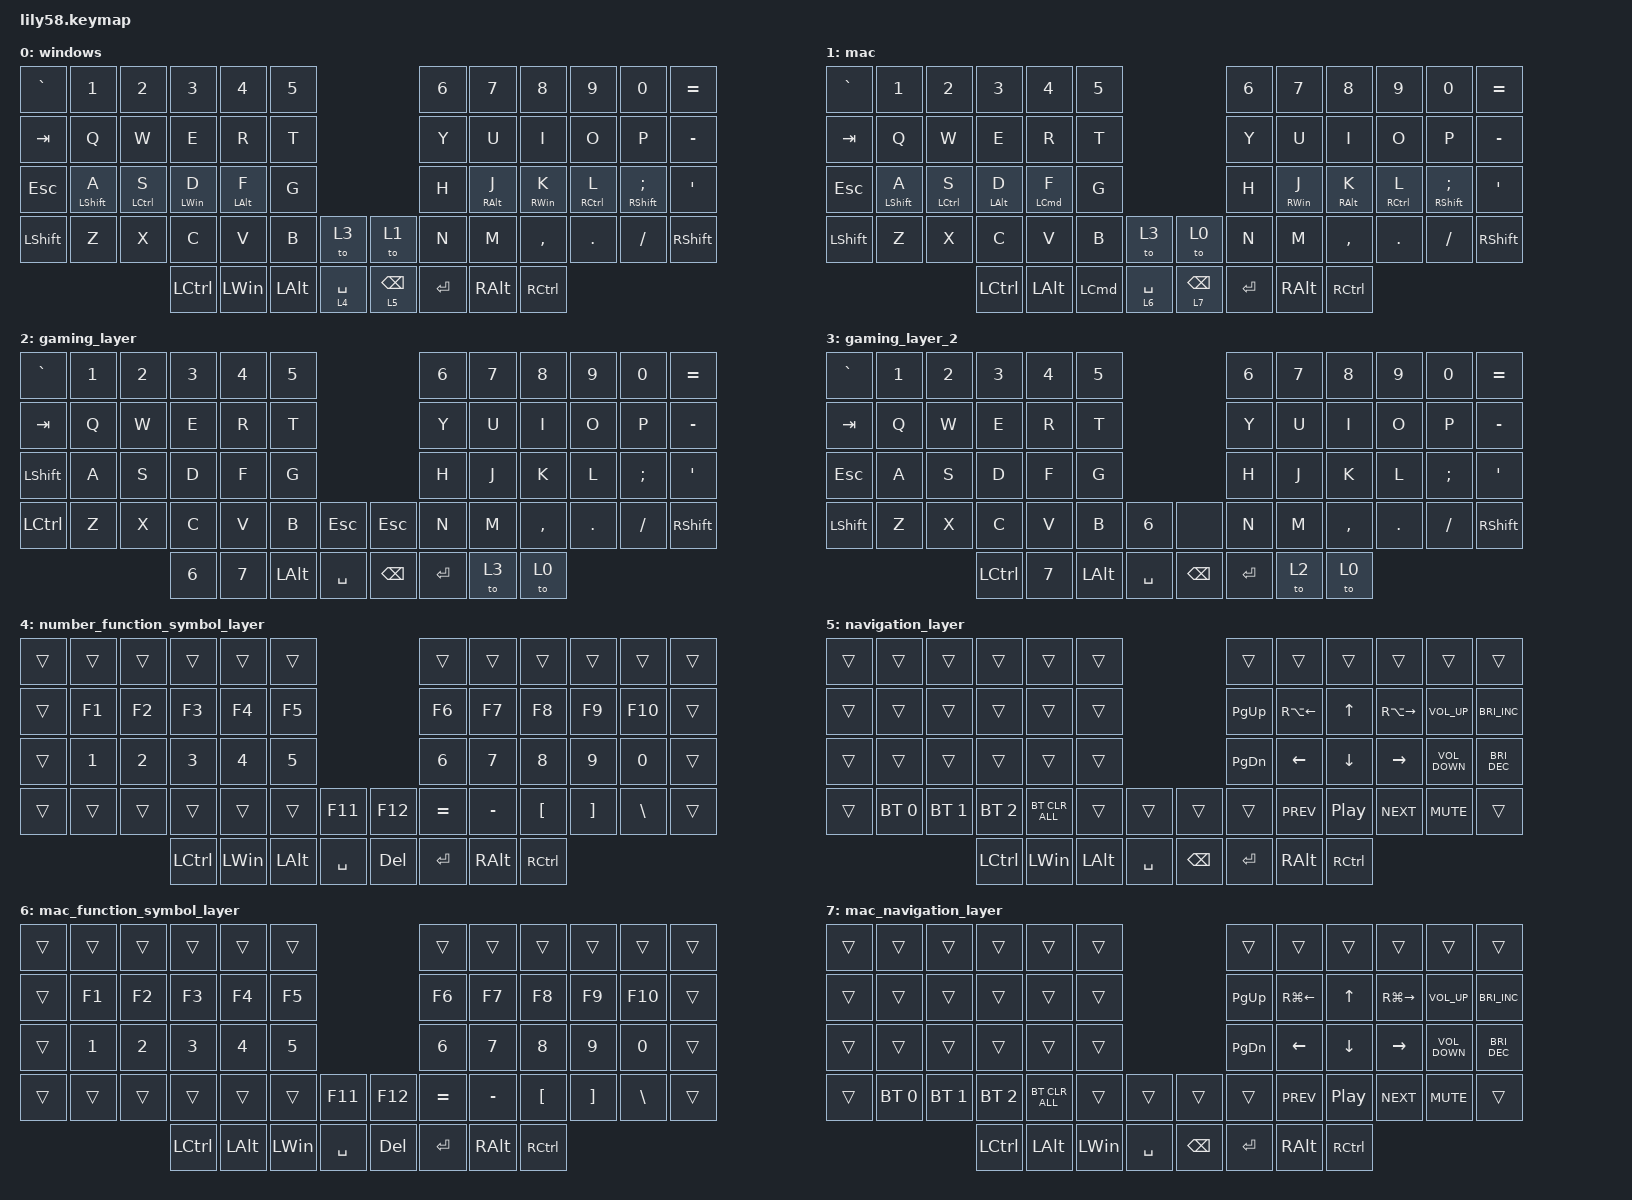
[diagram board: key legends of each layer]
/*
 * Copyright (c) 2020 The ZMK Contributors
 *
 * SPDX-License-Identifier: MIT
 */

#include <behaviors.dtsi>
#include <dt-bindings/zmk/bt.h>
#include <dt-bindings/zmk/keys.h>

&mt {
    flavor = "balanced";
    tapping-term-ms = <250>;
    quick-tap-ms = <175>;
    require-prior-idle-ms = <105>;
    hold-trigger-key-positions = <25 26 27 28 31 32 33 34>;
    hold-trigger-on-release;
};

/ {
    combos { compatible = "zmk,combos"; };

    behaviors {
        left_hold_tap: left_hold_tap {
            compatible = "zmk,behavior-hold-tap";
            label = "LEFT_HOLD_TAP";
            bindings = <&kp>, <&kp>;

            #binding-cells = <2>;
            tapping-term-ms = <250>;
            quick-tap-ms = <175>;
            require-prior-idle-ms = <105>;
            flavor = "balanced";
            hold-trigger-key-positions = <6 7 8 9 10 11 18 19 20 21 22 23 30 31 32 33 34 35 44 45 46 47 48 49 54 55 56 57>;
            hold-trigger-on-release;
        };

        right_hold_tap: right_hold_tap {
            compatible = "zmk,behavior-hold-tap";
            label = "RIGHT_HOLD_TAP";
            bindings = <&kp>, <&kp>;

            #binding-cells = <2>;
            tapping-term-ms = <250>;
            quick-tap-ms = <175>;
            require-prior-idle-ms = <105>;
            flavor = "balanced";
            hold-trigger-on-release;
            hold-trigger-key-positions = <17 0 1 2 3 4 5 12 13 14 15 16 17 24 25 26 27 28 29 36 37 38 39 40 41 42 50 51 52 53>;
        };
    };

    keymap {
        compatible = "zmk,keymap";

        windows {
            // ------------------------------------------------------------------------------------------------------------
            // |  ESC  |  1  |  2  |  3   |  4   |  5   |                   |  6   |  7    |  8    |  9   |   0   |   `   |
            // |  TAB  |  Q  |  W  |  E   |  R   |  T   |                   |  Y   |  U    |  I    |  O   |   P   |   -   |
            // |  CTRL |  A  |  S  |  D   |  F   |  G   |                   |  H   |  J    |  K    |  L   |   ;   |   '   |
            // | SHIFT |  Z  |  X  |  C   |  V   |  B   |   "["  |  |  "]"  |  N   |  M    |  ,    |  .   |   /   | SHIFT |
            //                     | ALT  | GUI  | LOWER|  ENTER |  | SPACE | RAISE| BSPC  | GUI   |

            bindings = <
&kp GRAVE       &kp NUMBER_1                 &kp NUMBER_2        &kp NUMBER_3  &kp NUMBER_4    &kp N5                                        &kp NUMBER_6  &kp N7           &kp N8      &kp N9               &kp N0                            &kp EQUAL
&kp TAB         &kp Q                        &kp W               &kp E         &kp R           &kp T                                         &kp Y         &kp U            &kp I       &kp O                &kp P                             &kp MINUS
&kp ESCAPE      &left_hold_tap LEFT_SHIFT A  &mt LEFT_CONTROL S  &mt LWIN D    &mt LEFT_ALT F  &kp G                                         &kp H         &mt RIGHT_ALT J  &mt RWIN K  &mt RIGHT_CONTROL L  &right_hold_tap RIGHT_SHIFT SEMI  &kp SQT
&kp LEFT_SHIFT  &kp Z                        &kp X               &kp C         &kp V           &kp B         &to 3          &to 1            &kp N         &kp M            &kp COMMA   &kp DOT              &kp FSLH                          &kp RSHFT
                                                                 &kp LCTRL     &kp LEFT_WIN    &kp LEFT_ALT  &lt 4 SPACE    &lt 5 BACKSPACE  &kp ENTER     &kp RALT         &kp RCTRL
            >;
        };

        mac {
            bindings = <
&kp GRAVE       &kp NUMBER_1                 &kp NUMBER_2        &kp NUMBER_3    &kp NUMBER_4  &kp N5                                            &kp NUMBER_6  &kp N7      &kp N8           &kp N9               &kp N0                            &kp EQUAL
&kp TAB         &kp Q                        &kp W               &kp E           &kp R         &kp T                                             &kp Y         &kp U       &kp I            &kp O                &kp P                             &kp MINUS
&kp ESCAPE      &left_hold_tap LEFT_SHIFT A  &mt LEFT_CONTROL S  &mt LEFT_ALT D  &mt LCMD F    &kp G                                             &kp H         &mt RWIN J  &mt RIGHT_ALT K  &mt RIGHT_CONTROL L  &right_hold_tap RIGHT_SHIFT SEMI  &kp SQT
&kp LEFT_SHIFT  &kp Z                        &kp X               &kp C           &kp V         &kp B             &to 3          &to 0            &kp N         &kp M       &kp COMMA        &kp DOT              &kp FSLH                          &kp RSHFT
                                                                 &kp LCTRL       &kp LEFT_ALT  &kp LEFT_COMMAND  &lt 6 SPACE    &lt 7 BACKSPACE  &kp ENTER     &kp RALT    &kp RCTRL
            >;
        };

        gaming_layer {
            bindings = <
&kp GRAVE       &kp N1  &kp N2  &kp N3        &kp N4        &kp N5                                     &kp N6     &kp N7  &kp N8     &kp N9   &kp N0         &kp EQUAL
&kp TAB         &kp Q   &kp W   &kp E         &kp R         &kp T                                      &kp Y      &kp U   &kp I      &kp O    &kp P          &kp MINUS
&kp LEFT_SHIFT  &kp A   &kp S   &kp D         &kp F         &kp G                                      &kp H      &kp J   &kp K      &kp L    &kp SEMICOLON  &kp SQT
&kp LCTRL       &kp Z   &kp X   &kp C         &kp V         &kp B         &kp ESCAPE    &kp ESC        &kp N      &kp M   &kp COMMA  &kp DOT  &kp FSLH       &kp RSHFT
                                &kp NUMBER_6  &kp NUMBER_7  &kp LEFT_ALT  &kp SPACE     &kp BACKSPACE  &kp ENTER  &to 3   &to 0
            >;
        };

        gaming_layer_2 {
            bindings = <
&kp GRAVE       &kp N1  &kp N2  &kp N3     &kp N4  &kp N5                                       &kp N6     &kp N7  &kp N8     &kp N9   &kp N0         &kp EQUAL
&kp TAB         &kp Q   &kp W   &kp E      &kp R   &kp T                                        &kp Y      &kp U   &kp I      &kp O    &kp P          &kp MINUS
&kp ESCAPE      &kp A   &kp S   &kp D      &kp F   &kp G                                        &kp H      &kp J   &kp K      &kp L    &kp SEMICOLON  &kp SQT
&kp LEFT_SHIFT  &kp Z   &kp X   &kp C      &kp V   &kp B         &kp NUMBER_6    &none          &kp N      &kp M   &kp COMMA  &kp DOT  &kp FSLH       &kp RSHFT
                                &kp LCTRL  &kp N7  &kp LEFT_ALT  &kp SPACE       &kp BACKSPACE  &kp ENTER  &to 2   &to 0
            >;
        };

        number_function_symbol_layer {
            // ------------------------------------------------------------------------------------------------------------
            // | BTCLR | BT1 | BT2 |  BT3 |  BT4 |  BT5 |                   |      |       |       |      |       |       |
            // |  F1   |  F2 |  F3 |  F4  |  F5  |  F6  |                   |  F7  |  F8   |  F9   |  F10 |  F11  |  F12  |
            // |   `   |  !  |  @  |  #   |  $   |  %   |                   |  ^   |  &    |  *    |  (   |   )   |   ~   |
            // |       |     |     |      |      |      |        |  |       |      |  _    |  +    |  {   |   }   |  "|"  |
            //                     |      |      |      |        |  |       |      |       |       |

            bindings = <
&trans  &trans        &trans        &trans            &trans        &trans                                 &trans        &trans        &trans            &trans             &trans         &trans
&trans  &kp F1        &kp F2        &kp F3            &kp F4        &kp F5                                 &kp F6        &kp F7        &kp F8            &kp F9             &kp F10        &trans
&trans  &kp NUMBER_1  &kp NUMBER_2  &kp NUMBER_3      &kp NUMBER_4  &kp NUMBER_5                           &kp NUMBER_6  &kp NUMBER_7  &kp NUMBER_8      &kp NUMBER_9       &kp NUMBER_0   &trans
&trans  &trans        &trans        &trans            &trans        &trans        &kp F11      &kp F12     &kp EQUAL     &kp MINUS     &kp LEFT_BRACKET  &kp RIGHT_BRACKET  &kp BACKSLASH  &trans
                                    &kp LEFT_CONTROL  &kp LWIN      &kp LALT      &kp SPACE    &kp DELETE  &kp ENTER     &kp RALT      &kp RCTRL
            >;
        };

        navigation_layer {
            // ------------------------------------------------------------------------------------------------------------
            // |       |     |     |      |      |      |                   |      |       |       |      |       |       |
            // |   `   |  1  |  2  |  3   |  4   |  5   |                   |  6   |   7   |   8   |  9   |   0   |       |
            // |   F1  |  F2 |  F3 |  F4  |  F5  |  F6  |                   |      |   <-  |   v   |  ^   |  ->   |       |
            // |   F7  |  F8 |  F9 |  F10 |  F11 |  F12 |        |  |       |  +   |   -   |   =   |  [   |   ]   |   \   |
            //                     |      |      |      |        |  |       |      |       |       |

            bindings = <
&trans  &trans        &trans        &trans            &trans          &trans                                    &trans         &trans        &trans     &trans         &trans             &trans
&trans  &trans        &trans        &trans            &trans          &trans                                    &kp PAGE_UP    &kp RA(LEFT)  &kp UP     &kp RA(RIGHT)  &kp C_VOLUME_UP    &kp C_BRIGHTNESS_INC
&trans  &trans        &trans        &trans            &trans          &trans                                    &kp PAGE_DOWN  &kp LEFT      &kp DOWN   &kp RIGHT      &kp C_VOLUME_DOWN  &kp C_BRIGHTNESS_DEC
&trans  &bt BT_SEL 0  &bt BT_SEL 1  &bt BT_SEL 2      &bt BT_CLR_ALL  &trans        &trans       &trans         &trans         &kp C_PREV    &kp C_PP   &kp C_NEXT     &kp K_MUTE         &trans
                                    &kp LEFT_CONTROL  &kp LWIN        &kp LEFT_ALT  &kp SPACE    &kp BACKSPACE  &kp ENTER      &kp RALT      &kp RCTRL
            >;
        };

        mac_function_symbol_layer {
            bindings = <
&trans  &trans        &trans        &trans            &trans        &trans                                 &trans        &trans        &trans            &trans             &trans         &trans
&trans  &kp F1        &kp F2        &kp F3            &kp F4        &kp F5                                 &kp F6        &kp F7        &kp F8            &kp F9             &kp F10        &trans
&trans  &kp NUMBER_1  &kp NUMBER_2  &kp NUMBER_3      &kp NUMBER_4  &kp NUMBER_5                           &kp NUMBER_6  &kp NUMBER_7  &kp NUMBER_8      &kp NUMBER_9       &kp NUMBER_0   &trans
&trans  &trans        &trans        &trans            &trans        &trans        &kp F11      &kp F12     &kp EQUAL     &kp MINUS     &kp LEFT_BRACKET  &kp RIGHT_BRACKET  &kp BACKSLASH  &trans
                                    &kp LEFT_CONTROL  &kp LALT      &kp LWIN      &kp SPACE    &kp DELETE  &kp ENTER     &kp RALT      &kp RCTRL
            >;
        };

        mac_navigation_layer {
            bindings = <
&trans  &trans        &trans        &trans            &trans          &trans                                    &trans         &trans        &trans     &trans         &trans             &trans
&trans  &trans        &trans        &trans            &trans          &trans                                    &kp PAGE_UP    &kp RG(LEFT)  &kp UP     &kp RG(RIGHT)  &kp C_VOLUME_UP    &kp C_BRIGHTNESS_INC
&trans  &trans        &trans        &trans            &trans          &trans                                    &kp PAGE_DOWN  &kp LEFT      &kp DOWN   &kp RIGHT      &kp C_VOLUME_DOWN  &kp C_BRIGHTNESS_DEC
&trans  &bt BT_SEL 0  &bt BT_SEL 1  &bt BT_SEL 2      &bt BT_CLR_ALL  &trans        &trans       &trans         &trans         &kp C_PREV    &kp C_PP   &kp C_NEXT     &kp K_MUTE         &trans
                                    &kp LEFT_CONTROL  &kp LEFT_ALT    &kp LEFT_WIN  &kp SPACE    &kp BACKSPACE  &kp ENTER      &kp RALT      &kp RCTRL
            >;
        };
    };
};
